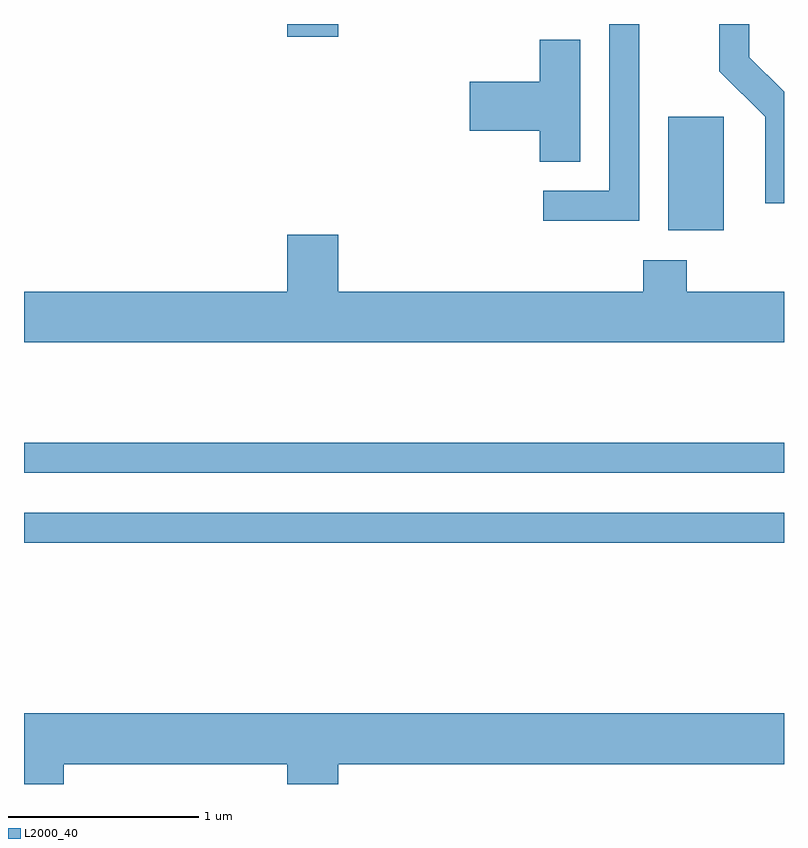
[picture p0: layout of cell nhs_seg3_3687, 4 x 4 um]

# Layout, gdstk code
import gdstk
lib = gdstk.Library(unit=1e-6, precision=1e-09)
def R(c, l, rs):  # rectangles x0, y0, x1, y1
    for r in rs: c.add(gdstk.rectangle(r[:2], r[2:], *l))
def P(c, l, *ps):  # polygons
    for p in ps: c.add(gdstk.Polygon(p, *l))
L2000_40 = (2000, 40)

nhs_seg3_3687 = lib.new_cell('nhs_seg3_3687')
R(nhs_seg3_3687, L2000_40, [(293.611,1147.161,297.611,1147.319), (293.611,1147.531,297.611,1147.689), (297.001,1148.806,297.294,1149.404), (294.996,1149.826,295.264,1149.892)])
P(nhs_seg3_3687, L2000_40, [(296.849,1149.892),(296.691,1149.892),(296.691,1149.014),(296.343,1149.014),(296.343,1148.856),(296.849,1148.856)],
  [(297.611,1149.535),(297.429,1149.717),(297.429,1149.892),(297.271,1149.892),(297.271,1149.644),(297.511,1149.404),(297.511,1148.948),(297.611,1148.948)],
  [(296.539,1149.809),(296.326,1149.809),(296.326,1149.589),(295.956,1149.589),(295.956,1149.331),(296.326,1149.331),(296.326,1149.166),(296.539,1149.166)],
  [(297.611,1148.484),(297.099,1148.484),(297.099,1148.649),(296.871,1148.649),(296.871,1148.484),(295.264,1148.484),(295.264,1148.784),(294.996,1148.784),(294.996,1148.484),(293.611,1148.484),(293.611,1148.216),(297.611,1148.216)],
  [(293.819,1145.996),(294.996,1145.996),(294.996,1145.892),(295.264,1145.892),(295.264,1145.996),(297.611,1145.996),(297.611,1146.264),(293.611,1146.264),(293.611,1145.892),(293.819,1145.892)])

lib.write_gds('nhs_seg3_3687.gds')
